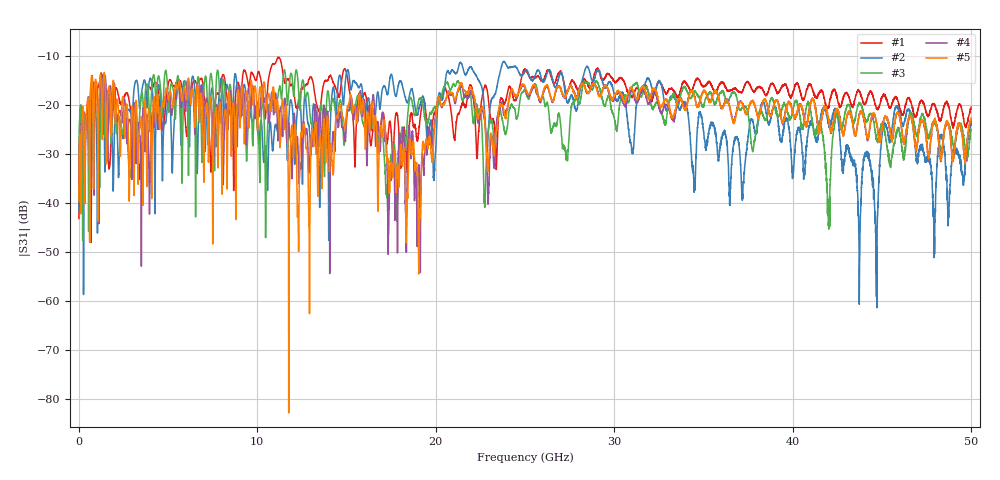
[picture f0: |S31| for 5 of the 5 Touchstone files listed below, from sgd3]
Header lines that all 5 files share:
!Agilent Technologies,N5245A,MY51251349,A.09.33.09
!Agilent N5245A: A.09.33.09
!Correction: S11(Full 4 Port(1,2,3,4))
!S12(Full 4 Port(1,2,3,4))
!S13(Full 4 Port(1,2,3,4))
!S14(Full 4 Port(1,2,3,4))
!S21(Full 4 Port(1,2,3,4))
!S22(Full 4 Port(1,2,3,4))
!S23(Full 4 Port(1,2,3,4))
!S24(Full 4 Port(1,2,3,4))
!S31(Full 4 Port(1,2,3,4))
!S32(Full 4 Port(1,2,3,4))
!S33(Full 4 Port(1,2,3,4))
!S34(Full 4 Port(1,2,3,4))
!S41(Full 4 Port(1,2,3,4))
!S42(Full 4 Port(1,2,3,4))
!S43(Full 4 Port(1,2,3,4))
!S44(Full 4 Port(1,2,3,4))
!S4P File: Measurements: <S11,S12,S13,S14>,
!<S21,S22,S23,S24>,
!<S31,S32,S33,S34>,
!<S41,S42,S43,S44>:
# Hz S  dB  R 50
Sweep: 10 MHz to 50 GHz
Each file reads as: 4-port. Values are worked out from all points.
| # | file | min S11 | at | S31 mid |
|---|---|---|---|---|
| 1 | 042mm.s4p | -54.7 dB | 189.7 MHz | -12.7 dB at 25 GHz |
| 2 | 161mm.s4p | -49.9 dB | 47.67 GHz | -13.1 dB at 25 GHz |
| 3 | 210mm.s4p | -50.7 dB | 1.814 GHz | -17.0 dB at 25 GHz |
| 4 | 306mm.s4p | -52.0 dB | 299 MHz | -16.6 dB at 25 GHz |
| 5 | 317mm.s4p | -48.0 dB | 16.5 GHz | -16.2 dB at 25 GHz |
